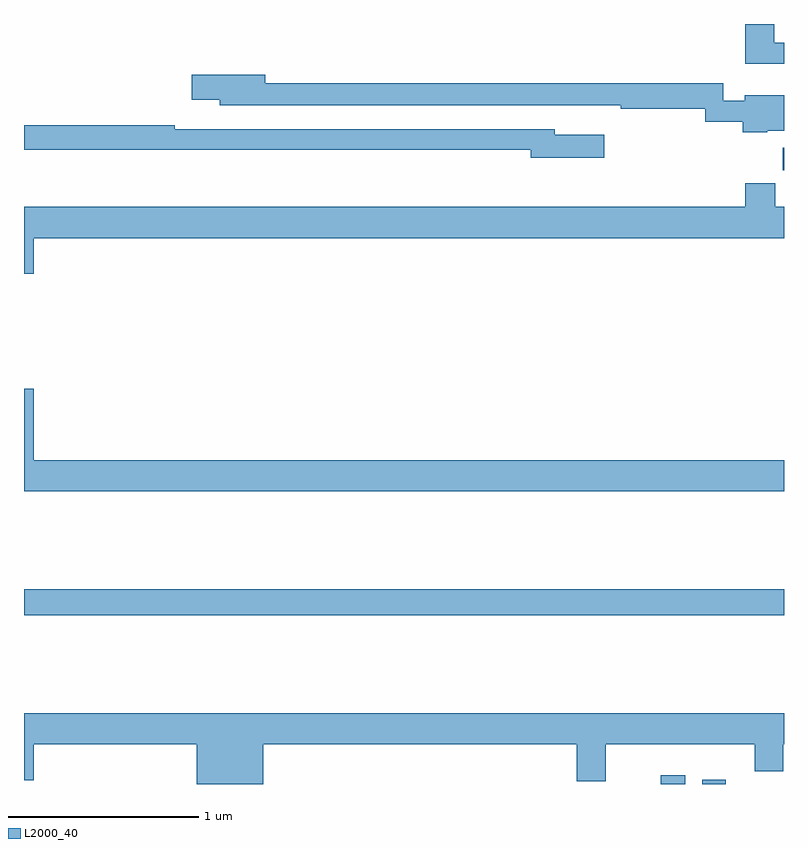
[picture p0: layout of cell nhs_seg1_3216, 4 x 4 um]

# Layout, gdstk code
import gdstk
lib = gdstk.Library(unit=1e-6, precision=1e-09)
def R(c, l, rs):  # rectangles x0, y0, x1, y1
    for r in rs: c.add(gdstk.rectangle(r[:2], r[2:], *l))
def P(c, l, *ps):  # polygons
    for p in ps: c.add(gdstk.Polygon(p, *l))
L2000_40 = (2000, 40)

nhs_seg1_3216 = lib.new_cell('nhs_seg1_3216')
R(nhs_seg1_3216, L2000_40, [(288.35,542.199,288.481,542.245), (288.569,542.199,288.694,542.221), (285,543.088,289,543.224), (288.994,545.43,289,545.548)])
P(nhs_seg1_3216, L2000_40, [(289,546.1),(288.949,546.1),(288.949,546.199),(288.797,546.199),(288.797,545.99),(289,545.99)],
  [(288.912,545.636),(289,545.636),(289,545.824),(288.794,545.824),(288.794,545.795),(288.681,545.795),(288.681,545.888),(286.27,545.888),(286.27,545.931),(285.882,545.931),(285.882,545.801),(286.031,545.801),(286.031,545.772),(287.89,545.772),(287.89,545.771),(288.142,545.771),(288.142,545.752),(288.585,545.752),(288.585,545.685),(288.782,545.685),(288.782,545.63),(288.912,545.63)],
  [(288.055,545.617),(287.794,545.617),(287.794,545.646),(285.794,545.646),(285.794,545.666),(285,545.666),(285,545.538),(287.666,545.538),(287.666,545.495),(288.055,545.495)],
  [(285.052,545.072),(289,545.072),(289,545.236),(288.953,545.236),(288.953,545.36),(288.797,545.36),(288.797,545.236),(285,545.236),(285,544.884),(285.052,544.884)],
  [(289,543.904),(285.052,543.904),(285.052,544.279),(285,544.279),(285,543.74),(289,543.74)],
  [(286.258,542.408),(287.909,542.408),(287.909,542.214),(288.061,542.214),(288.061,542.408),(288.845,542.408),(288.845,542.267),(288.997,542.267),(288.997,542.408),(289,542.408),(289,542.572),(285,542.572),(285,542.22),(285.052,542.22),(285.052,542.408),(285.908,542.408),(285.908,542.199),(286.258,542.199)])

lib.write_gds('nhs_seg1_3216.gds')
